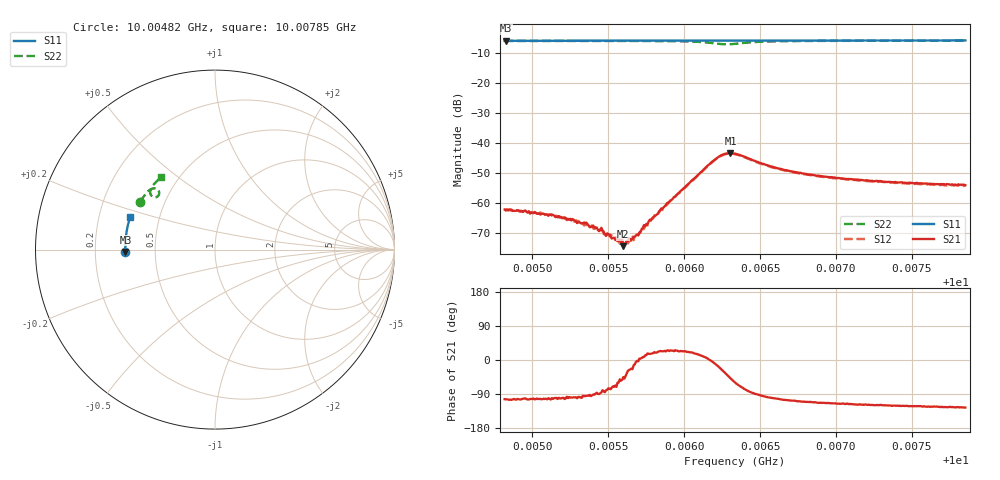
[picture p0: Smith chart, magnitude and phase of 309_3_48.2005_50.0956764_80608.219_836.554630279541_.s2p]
#  HZ  S  RI  R  50.00
! Rohde & Schwarz Vector Network Analyzer
! Rohde-Schwarz,ZNB20-2Port,1311601062101988,3.16
! Created: UTC 3/20/2024, 11:49:55 AM
! freq[Hz]  re:S11  im:S11  re:S21  im:S21  re:S12  im:S12  re:S22  im:S22
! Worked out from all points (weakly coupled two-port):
!   401 points, 10.00482 GHz to 10.00785 GHz, reference 50 ohm
!   highest |S21| = -43.39 dB at 10.0063 GHz (marker M1); lowest = -74.4 dB at 10.0056 GHz (marker M2)
!   lowest |S11| = -6.0 dB at 10.00482 GHz (marker M3), VSWR 2.99, Z = 16.7 - j0.602 ohm
!   |S11| at or under -10 dB: nowhere
!   |S22| runs from -7.2 to -6.0 dB; largest |S21 - S12| = 0.00038
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1.0004817e10  -0.4991 -0.014  -0.00018 -0.000756  -0.000139 -0.000722  -0.4154 0.267
1.0004825e10  -0.4991 -0.0135  -0.000187 -0.00075  -0.000104 -0.000752  -0.4152 0.2677
1.0005128e10  -0.4998 0.00634  -0.00012 -0.000633  -8.37e-05 -0.000609  -0.4041 0.2856
1.0005326e10  -0.5 0.019  -7.87e-05 -0.000453  -3.08e-05 -0.000453  -0.3962 0.2974
1.0005379e10  -0.4997 0.0224  -1.38e-05 -0.000393  -7.18e-06 -0.000434  -0.394 0.3005
1.0005455e10  -0.4999 0.0274  3.15e-05 -0.000385  4.77e-05 -0.000351  -0.3906 0.3052
1.0005485e10  -0.4998 0.0293  4.82e-05 -0.000278  2.28e-05 -0.000304  -0.3891 0.307
1.0005538e10  -0.4996 0.0327  8.57e-05 -0.000249  9.37e-05 -0.000244  -0.3865 0.3102
1.0005584e10  -0.4995 0.0358  0.000129 -0.000182  0.000137 -0.000176  -0.3841 0.3131
1.0005599e10  -0.4994 0.0368  0.000134 -0.000135  0.000157 -0.000128  -0.3834 0.314
1.0005614e10  -0.4995 0.0377  0.000159 -0.000144  0.000215 -0.000121  -0.3826 0.315
1.0005637e10  -0.4993 0.0391  0.000233 -0.000115  0.000216 -7.87e-05  -0.3813 0.3164
1.0005682e10  -0.4992 0.0421  0.000285 -2.36e-05  0.000272 -2.25e-05  -0.3787 0.3192
1.0005834e10  -0.4985 0.0521  0.000669 0.000276  0.00062 0.000296  -0.3684 0.3291
1.0006191e10  -0.4959 0.0751  0.00497 -0.000511  0.00487 -0.000287  -0.3151 0.3296
1.0006251e10  -0.4952 0.0786  0.00563 -0.00285  0.00564 -0.00255  -0.3113 0.3085
1.0006305e10  -0.495 0.0817  0.00452 -0.00504  0.00465 -0.00472  -0.3249 0.2931
1.0006335e10  -0.4948 0.0836  0.00338 -0.00567  0.00359 -0.00536  -0.3356 0.291
1.0006585e10  -0.4927 0.0998  -0.000741 -0.00389  -0.000516 -0.00381  -0.3599 0.3291
1.0006843e10  -0.4897 0.1161  -0.00106 -0.00273  -0.00092 -0.00271  -0.3489 0.3529
1.0007352e10  -0.4821 0.1479  -0.00112 -0.00193  -0.001 -0.00195  -0.3235 0.3825
1.0007853e10  -0.4727 0.1789  -0.00114 -0.00161  -0.00104 -0.00167  -0.2982 0.4057
